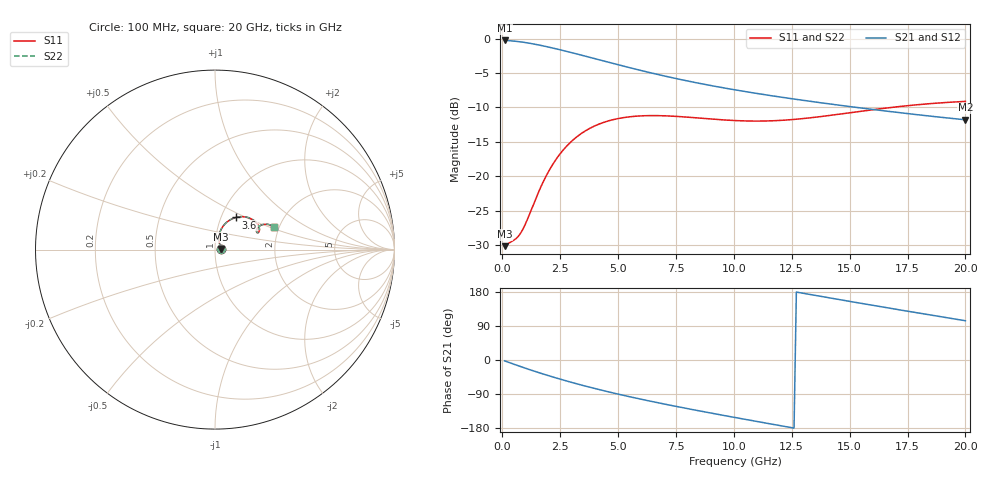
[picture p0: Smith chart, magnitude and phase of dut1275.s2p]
! Touchstone file exported from HFSS 2024.1.0
!  File:  C:/UserFiles/LocalFiles/RDL_TSV_Batchsim/temp_RDL_TSV_1275_1780275712.aedt
!  Generated:  09:20:39 AM Jun  1, 2026
!  Design:  RDL_TSV
!  Project:  temp_RDL_TSV_1275_1780275712
!  Setup:  Setup1
!  Solution:  Sweep
! Variables:
!  dtsv = 12.22um
!  hbump = 3um
!  htsv = 70.52um
!  ldown = 495.21um
!  lrdl = 565.25um
!  p = 40
!  p1 = 50.31um
!  rhole = 10um
!  subl = 3746.63um
!  t = 450um
!  tdown = 2.06um
!  trdl = 3.65um
!  viad = 10um
!  wdown = 11.14um
!  wrdl = 24.93um
!  xbump = 18um
# GHz S MA R 50.000000
! Terminal data exported
! Port[1] = TM1_1_T1
! Port[2] = TM1_4_T1
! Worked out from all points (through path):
!   200 points, 100 MHz to 20 GHz, reference 50 ohm
!   highest |S21| = -0.28 dB at 100 MHz (marker M1); lowest = -11.8 dB at 20 GHz (marker M2)
!   group delay of S21, straight-line fit = 33.6 ps
!   lowest |S11| = -30.1 dB at 100 MHz (marker M3), VSWR 1.06, Z = 53.2 + j0.403 ohm
!   |S11| at or under -10 dB: start of sweep to 16.8 GHz
!   |S22| runs from -30.1 to -9.1 dB; largest |S21 - S12| = 6.2e-15
!   S11 on the Smith chart (normalised r, x): 100 MHz: 1.06, +0.01; 3.6 GHz: 1.18, +0.44; 20 GHz: 1.88, +0.53
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0.1  0.03116 7.0  0.9686 -2.3  0.9686 -2.3  0.03116 7.0
! Gamma 0 0 0 0
! Port Impedance 50 0 50 0
0.6  0.03544 35.0  0.9546 -13.3  0.9546 -13.3  0.03543 35.0
0.8  0.03891 47.0  0.9457 -17.5  0.9457 -17.5  0.0389 47.1
1.3  0.05993 68.8  0.9168 -27.9  0.9168 -27.9  0.05994 68.8
1.8  0.09368 74.2  0.882 -37.7  0.882 -37.7  0.09375 74.3
2.2  0.1237 72.6  0.8519 -45.1  0.8519 -45.1  0.1239 72.7
2.6  0.1532 68.8  0.821 -52.3  0.821 -52.3  0.1534 68.9
3  0.1802 64.1  0.79 -59.2  0.79 -59.2  0.1805 64.2
3.5  0.2094 57.9  0.7517 -67.4  0.7517 -67.4  0.2097 58.0
3.6  0.2145 56.7  0.7441 -69.0  0.7441 -69.0  0.2148 56.8
4.3  0.2439 48.5  0.6931 -79.9  0.6931 -79.9  0.2443 48.6
5.2  0.2663 39.4  0.6331 -92.8  0.6331 -92.8  0.2669 39.5
6  0.2748 33.0  0.5859 -103.6  0.5859 -103.6  0.2754 33.0
6.8  0.2757 28.0  0.5445 -113.8  0.5445 -113.8  0.2763 28.0
8.4  0.2657 22.3  0.4771 -133.0  0.4771 -133.0  0.2663 22.4
10.1  0.2538 21.7  0.4229 -152.3  0.4229 -152.3  0.2544 21.8
11.7  0.2532 24.2  0.3831 -169.9  0.3831 -169.9  0.2537 24.3
13.4  0.2671 27.0  0.3485 171.7  0.3485 171.7  0.2676 27.1
15.1  0.2909 27.9  0.3195 153.7  0.3195 153.7  0.2914 28.0
16.7  0.3149 26.7  0.296 137.0  0.296 137.0  0.3156 26.7
18.3  0.3352 24.1  0.2757 120.7  0.2757 120.7  0.336 24.2
20  0.3499 20.6  0.2574 103.6  0.2574 103.6  0.3509 20.7
